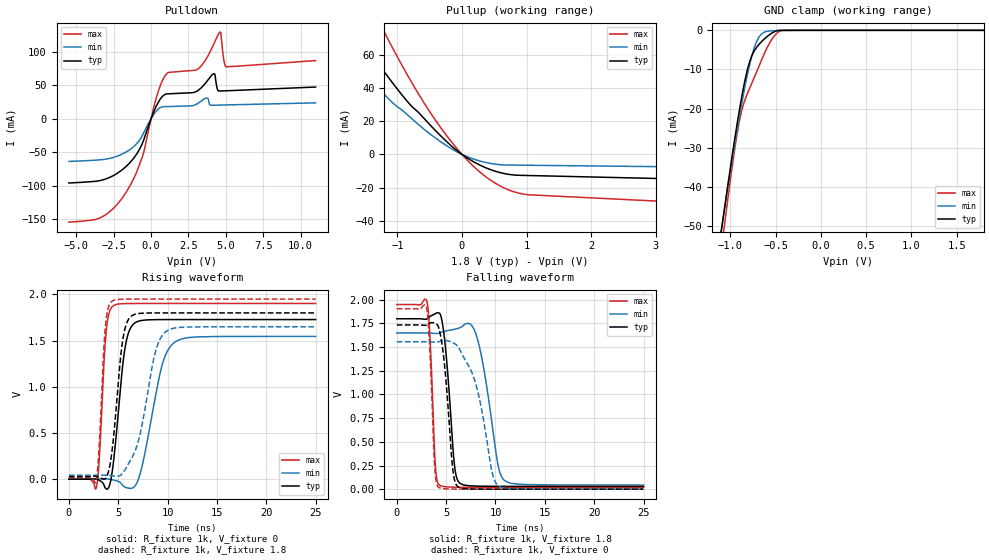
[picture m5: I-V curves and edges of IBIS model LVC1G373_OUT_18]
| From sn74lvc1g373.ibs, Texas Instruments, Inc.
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[Model]   LVC1G373_OUT_18
Model_type  3-state
Enable   Active-Low
Vref =   0
Rref =   1000
Cref =   30p
Vmeas =   0.9
| variable   typ   min   max
C_comp   5.62pF   4.86pF   6.45pF
| C_pullup   7.73pF   5.77pF   8.45pF
| C_pulldown   9.48pF   6.37pF   14.06pF
| C_tri-state   5.62pF   4.86pF   6.45pF
[Temperature Range]   40   100   -40
| Ambient temperature   25   85   -40
[Voltage range]   1.8   1.65   1.95
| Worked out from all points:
|   slope of the pulldown table from 0 to 0.27 V, typ, clamps not added: 18 ohm
|   slope of the pullup table from 0 to 0.27 V, typ, clamps not added: 42.8 ohm
|   GND clamp passes 1 mA (typ) near -0.56 V on its own axis
|   rising waveform, R_fixture 1k, V_fixture 0: 20-80 % time 955ps typ, 1.7ns min, 553ps max; typ from 0 V to 1.73 V
|   falling waveform, R_fixture 1k, V_fixture 1.8: 20-80 % time 751ps typ, 1.36ns min, 443ps max; typ from 1.8 V to 0.029 V
|   rising waveform, R_fixture 1k, V_fixture 1.8: 20-80 % time 921ps typ, 1.75ns min, 538ps max; typ from 0.029 V to 1.8 V
|   falling waveform, R_fixture 1k, V_fixture 0: 20-80 % time 788ps typ, 1.88ns min, 442ps max; typ from 1.74 V to 0 V
[GND Clamp]
| LVC1G373_OUT_18
|   Voltage   I(typ)   I(min)   I(max)
-5.5V     -897.8mA   -832.4mA   -1.016A
-1.11V    -52.82mA   -52.44mA   -57.96mA
-1.08V    -47.86mA   -47.85mA   -52.38mA
-1.05V    -42.97mA   -43.33mA   -46.9mA
-915mV    -22.35mA   -24.01mA   -24.95mA
-835mV    -12.29mA   -13.87mA   -17.5mA
-785mV    -7.843mA   -8.49mA    -14.64mA
-735mV    -5.197mA   -4.32mA    -11.95mA
-645mV    -2.635mA   -747.2uA   -6.981mA
-530mV    -538.4uA   -106uA     -1.891mA
-425mV    -4.773uA   -33.06uA   -14.75uA
1.8V      18.99pA    21.74nA    569.3pA
[Pulldown]
| LVC1G373_OUT_18
|   Voltage   I(typ)   I(min)   I(max)
-5.5V     -96.03mA   -63.8mA    -154.5mA
-3.47V    -92.68mA   -61.55mA   -148.6mA
-2.09V    -78.96mA   -54.47mA   -123.1mA
-605mV    -38mA      -26mA      -58.35mA
300mV     16.42mA    9.98mA     27.08mA
875mV     35.4mA     17.82mA    61.89mA
3.195V    42.96mA    23.74mA    75.16mA
3.745V    55.96mA    30.63mA    91.34mA
4.2V      66.99mA    20mA       111.6mA
4.6V      41.29mA    20.2mA     129mA
5.01V     41.55mA    20.42mA    77.37mA
11V       47.14mA    23.52mA    86.61mA
[Pullup]
| LVC1G373_OUT_18
|   Voltage   I(typ)   I(min)   I(max)
-5.5V     347.4mA    186.3mA    493.3mA
-2.1V     102.8mA    77.03mA    149.1mA
-1.685V   77.2mA     57.16mA    112.9mA
-1.265V   53.26mA    38.8mA     78.78mA
-1.185V   48.98mA    35.54mA    72.63mA
-865mV    32.91mA    24.65mA    49.37mA
-535mV    19.53mA    13.6mA     27.97mA
-10mV     279.4uA    182.4uA    442.5uA
225mV     -5.409mA   -3.38mA    -8.872mA
475mV     -9.653mA   -5.667mA   -16.4mA
950mV     -12.68mA   -6.523mA   -23.96mA
11V       -21.77mA   -10.67mA   -43.63mA
[Ramp]
| LVC1G373_OUT_18
| variable   typ   min   max
dV/dt_r   1.10/1.01E-09   0.99/1.80E-09   1.20/5.85E-10
dV/dt_f   1.10/7.91E-10   1.03/1.48E-09   1.19/4.63E-10
R_load = 1k
[Rising Waveform]
| LVC1G373_OUT_18
R_fixture =   1k
C_fixture =   0
L_fixture =   0
V_fixture =   0
V_fixture_min = 0
V_fixture_max = 0
|   Time   V(typ)   V(min)   V(max)
0s        121.3pV    6.876nV    2.208nV
2.8ns     212.6uV    946.5uV    -83.24mV
3.085ns   -12.8mV    1.749mV    231.5mV
3.77ns    -104.5mV   1.442mV    1.587V
4.5ns     169.6mV    -8.243mV   1.877V
5.65ns    1.394V     -83.29mV   1.901V
6.675ns   1.691V     -76.81mV   1.902V
9.415ns   1.728V     1.222V     1.902V
10.61ns   1.728V     1.474V     1.902V
24.99ns   1.728V     1.546V     1.902V
[Falling Waveform]
| LVC1G373_OUT_18
R_fixture =   1k
C_fixture =   0
L_fixture =   0
V_fixture =   1.8
V_fixture_min = 1.65
V_fixture_max = 1.95
|   Time   V(typ)   V(min)   V(max)
0s        1.8V       1.65V      1.95V
3.06ns    1.8V       1.65V      1.979V
3.9ns     1.853V     1.645V     259.8mV
4.31ns    1.859V     1.65V      43.65mV
4.925ns   1.503V     1.67V      25.83mV
5.855ns   245.4mV    1.689V     20.86mV
6.38ns    63.45mV    1.705V     20.18mV
8.145ns   32.33mV    1.597V     19.66mV
10.92ns   29.65mV    91.83mV    19.61mV
24.99ns   29.37mV    42.61mV    19.6mV
[Rising Waveform]
| LVC1G373_OUT_18
R_fixture =   1k
C_fixture =   0
L_fixture =   0
V_fixture =   1.8
V_fixture_min = 1.65
V_fixture_max = 1.95
|   Time   V(typ)   V(min)   V(max)
0s        29.35mV    42.54mV    19.59mV
2.735ns   30.19mV    43.22mV    -23.24mV
3.035ns   20.03mV    44.07mV    293mV
3.695ns   7.824mV    43.11mV    1.644V
4.375ns   306.9mV    36.94mV    1.927V
5.43ns    1.486V     64.69mV    1.949V
6.38ns    1.77V      228.8mV    1.95V
8.775ns   1.8V       1.38V      1.95V
9.88ns    1.8V       1.602V     1.95V
24.99ns   1.8V       1.65V      1.95V
[Falling Waveform]
| LVC1G373_OUT_18
R_fixture =   1k
C_fixture =   0
L_fixture =   0
V_fixture =   0
V_fixture_min = 0
V_fixture_max = 0
|   Time   V(typ)   V(min)   V(max)
0s        1.735V     1.557V     1.906V
3.03ns    1.734V     1.556V     1.909V
3.84ns    1.754V     1.554V     239.9mV
4.225ns   1.713V     1.558V     20.63mV
4.835ns   1.314V     1.571V     4.647mV
5.685ns   200.2mV    1.547V     915.7uV
6.195ns   25.53mV    1.507V     403.2uV
7.99ns    1.301mV    1.117V     42.58uV
10.3ns    161.1uV    33.44mV    13.35uV
24.99ns   17.5uV     41.94uV    8.576uV
